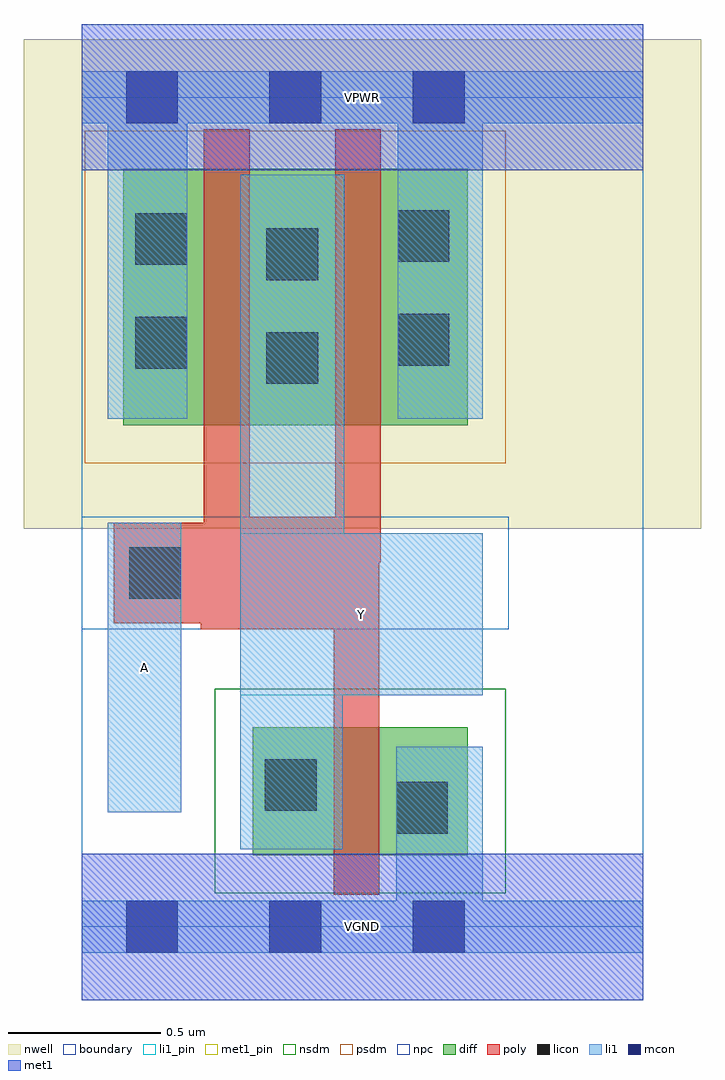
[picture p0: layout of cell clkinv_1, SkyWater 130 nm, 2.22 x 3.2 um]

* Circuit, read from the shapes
.subckt clkinv_1 A VGND VPWR Y
XM1 VGND A Y VSUBS sky130_fd_pr__nfet_01v8 w=0.42 l=0.15
XM2 Y A VPWR n1 sky130_fd_pr__pfet_01v8 w=0.84 l=0.15 m=2
.ends

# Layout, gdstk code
import gdstk
lib = gdstk.Library(unit=1e-6, precision=1e-09)
def R(c, l, rs):  # rectangles x0, y0, x1, y1
    for r in rs: c.add(gdstk.rectangle(r[:2], r[2:], *l))
def A(c, l, x, y, w, h, nx, ny, dx, dy):  # array of equal rectangles
    R(c, l, [(x+i*dx, y+j*dy, x+i*dx+w, y+j*dy+h) for i in range(nx) for j in range(ny)])
nwell = (64, 20)
diff = (65, 20)
poly = (66, 20)
licon = (66, 44)
li1_pin = (67, 16)
li1 = (67, 20)
mcon = (67, 44)
met1_pin = (68, 16)
met1 = (68, 20)
nsdm = (93, 44)
psdm = (94, 20)
npc = (95, 20)
boundary = (235, 4)

clkinv_1 = lib.new_cell('clkinv_1')
R(clkinv_1, nwell, [(-0.19,1.305,2.03,2.91), (0,1.305,1.84,2.91)])
R(clkinv_1, diff, [(0.56,0.235,1.265,0.655), (0.135,1.645,1.265,2.485)])
R(clkinv_1, poly, [(0.825,0.105,0.83,1.345), (0.83,0.105,0.975,2.615), (0.39,0.975,0.975,1.195), (0.4,0.975,0.55,2.615), (0.4,0.975,0.825,1.345), (0.105,0.995,0.975,1.325), (0.83,1.195,0.98,2.615)])
R(clkinv_1, licon, [(1.03,0.305,1.2,0.475), (0.6,0.38,0.77,0.55), (0.155,1.075,0.325,1.245), (0.605,1.78,0.775,1.95), (0.175,1.83,0.345,2), (1.035,1.84,1.205,2.01), (0.605,2.12,0.775,2.29), (0.175,2.17,0.345,2.34), (1.035,2.18,1.205,2.35)])
R(clkinv_1, li1_pin, [(0.085,0.375,0.325,1.325), (0.52,0.76,1.315,1.29)])
R(clkinv_1, li1, [(0,-0.085,1.84,0.085), (1.03,-0.085,1.315,0.59), (0.52,0.255,0.855,2.465), (0.085,0.375,0.325,1.325), (0.52,0.76,1.315,1.29), (0.52,0.76,0.86,2.465), (0.085,1.665,0.345,2.805), (1.035,1.665,1.315,2.805), (0,2.635,1.84,2.805)])
A(clkinv_1, mcon, 0.145, -0.085, 0.17, 0.17, 3, 2, 0.47, 2.72)
R(clkinv_1, met1_pin, [(0,-0.24,1.84,0.24), (0,2.48,1.84,2.96)])
R(clkinv_1, met1, [(0,-0.24,1.84,0.24), (0,2.48,1.84,2.96)])
R(clkinv_1, nsdm, [(0.435,0.11,1.39,0.78)])
R(clkinv_1, psdm, [(0.01,1.52,1.39,2.61)])
R(clkinv_1, npc, [(0,0.975,1.4,1.345)])
R(clkinv_1, boundary, [(0,0,1.84,2.72)])
clkinv_1.add(gdstk.Label('A', (0.205,0.85), layer=67, texttype=5))
clkinv_1.add(gdstk.Label('Y', (0.917,1.025), layer=67, texttype=5))
clkinv_1.add(gdstk.Label('VPWR', (0.92,2.72), layer=68, texttype=5))
clkinv_1.add(gdstk.Label('VGND', (0.92,0), layer=68, texttype=5))
clkinv_1.add(gdstk.Label('A', (0.205,0.85), layer=67, texttype=16))
clkinv_1.add(gdstk.Label('Y', (0.917,1.025), layer=67, texttype=16))
clkinv_1.add(gdstk.Label('VPWR', (0.92,2.72), layer=68, texttype=16))
clkinv_1.add(gdstk.Label('VGND', (0.92,0), layer=68, texttype=16))

lib.write_gds('clkinv_1.gds')
